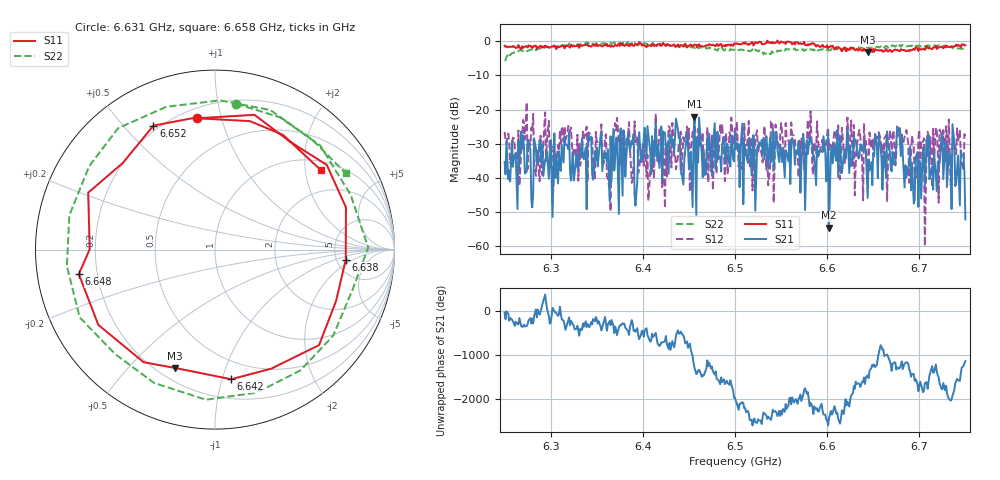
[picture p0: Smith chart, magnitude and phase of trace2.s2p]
# Hz S RI R 50
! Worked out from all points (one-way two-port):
!   401 points, 6.25 GHz to 6.75 GHz, reference 50 ohm
!   highest |S21| = -22.10 dB at 6.456 GHz (marker M1); lowest = -54.7 dB at 6.602 GHz (marker M2)
!   lowest |S11| = -3.1 dB at 6.644 GHz (marker M3), VSWR 5.58, Z = 13.3 - j34.1 ohm
!   |S11| at or under -10 dB: nowhere
!   |S22| runs from -5.7 to -0.1 dB; largest |S21 - S12| = 0.15
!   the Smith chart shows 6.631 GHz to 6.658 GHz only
!   S11 on the Smith chart (normalised r, x): 6.631 GHz: 0.26, +0.84; 6.638 GHz: 6.07, -1.45; 6.642 GHz: 0.35, -1.07; 6.648 GHz: 0.13, -0.09; 6.652 GHz: 0.18, +0.61; 6.658 GHz: 1.26, +2.44
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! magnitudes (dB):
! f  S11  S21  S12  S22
! 6.25 GHz  -1.3  -35.4  -26.6  -5.7
! 6.334 GHz  -1.3  -28.5  -33.0  -0.7
! 6.364 GHz  -1.1  -47.0  -43.6  -0.5
! 6.37 GHz  -1.0  -34.3  -24.0  -0.5
! 6.406 GHz  -1.2  -27.3  -46.7  -0.7
! 6.418 GHz  -0.9  -37.2  -25.5  -0.9
! 6.456 GHz  -0.9  -22.1  -23.1  -1.9
! 6.5 GHz  -0.6  -26.5  -25.5  -2.6
! 6.506 GHz  -0.8  -31.1  -37.7  -2.3
! 6.584 GHz  -0.5  -30.2  -37.4  -2.5
! 6.602 GHz  -1.7  -54.7  -31.9  -2.6
! 6.631 GHz  -2.6  -29.1  -36.1  -1.7
! 6.638 GHz  -2.7  -32.2  -35.5  -2.0
! 6.642 GHz  -2.8  -32.6  -29.2  -1.5
! 6.644 GHz  -3.1  -46.0  -37.0  -1.8
! 6.648 GHz  -2.3  -35.4  -31.5  -1.6
! 6.652 GHz  -2.3  -27.2  -27.3  -1.5
! 6.658 GHz  -2.6  -30.9  -28.6  -1.5
! 6.668 GHz  -2.5  -32.3  -26.1  -1.2
! 6.696 GHz  -1.8  -34.1  -37.0  -1.3
! 6.726 GHz  -2.0  -40.4  -26.0  -1.3
! 6.75 GHz  -1.1  -52.3  -28.3  -2.3
